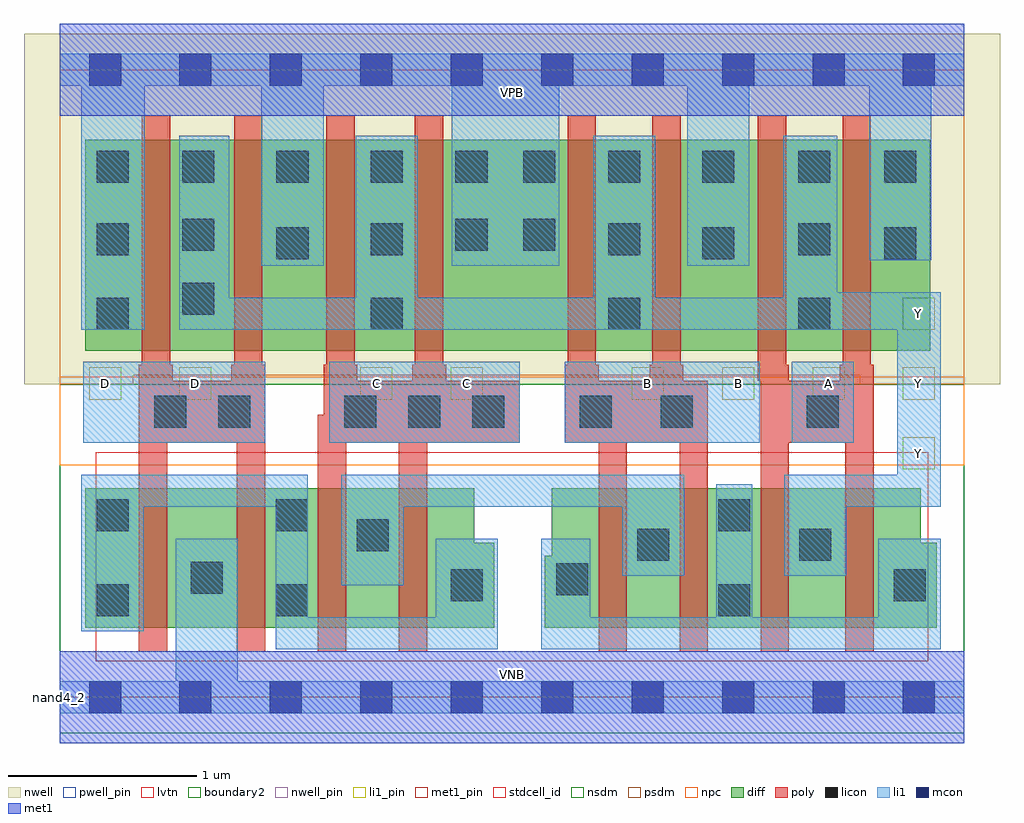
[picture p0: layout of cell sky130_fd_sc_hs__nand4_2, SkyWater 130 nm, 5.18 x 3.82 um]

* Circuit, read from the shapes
.subckt sky130_fd_sc_hs__nand4_2 A B C D VGND VNB VPB VPWR Y
XM1 VGND D n1 VNB sky130_fd_pr__nfet_01v8_lvt w=0.74 l=0.15 m=2
XM2 n2 C n1 VNB sky130_fd_pr__nfet_01v8_lvt w=0.74 l=0.15 m=2
XM3 n2 B n3 VNB sky130_fd_pr__nfet_01v8_lvt w=0.74 l=0.15 m=2
XM4 Y A n3 VNB sky130_fd_pr__nfet_01v8_lvt w=0.74 l=0.15 m=2
XM5 Y D VPWR VPB sky130_fd_pr__pfet_01v8 w=1.12 l=0.15 m=2
XM6 Y C VPWR VPB sky130_fd_pr__pfet_01v8 w=1.12 l=0.15 m=2
XM7 Y B VPWR VPB sky130_fd_pr__pfet_01v8 w=1.12 l=0.15 m=2
XM8 Y A VPWR VPB sky130_fd_pr__pfet_01v8 w=1.12 l=0.15 m=2
.ends

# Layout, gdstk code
import gdstk
lib = gdstk.Library(unit=1e-6, precision=1e-09)
def R(c, l, rs):  # rectangles x0, y0, x1, y1
    for r in rs: c.add(gdstk.rectangle(r[:2], r[2:], *l))
def A(c, l, x, y, w, h, nx, ny, dx, dy):  # array of equal rectangles
    R(c, l, [(x+i*dx, y+j*dy, x+i*dx+w, y+j*dy+h) for i in range(nx) for j in range(ny)])
def P(c, l, *ps):  # polygons
    for p in ps: c.add(gdstk.Polygon(p, *l))
nwell_pin = (64, 16)
nwell = (64, 20)
diff = (65, 20)
poly = (66, 20)
licon = (66, 44)
li1_pin = (67, 16)
li1 = (67, 20)
mcon = (67, 44)
met1_pin = (68, 16)
met1 = (68, 20)
stdcell_id = (81, 4)
nsdm = (93, 44)
psdm = (94, 20)
npc = (95, 20)
pwell_pin = (122, 16)
lvtn = (125, 44)
boundary2 = (236, 0)

sky130_fd_sc_hs__nand4_2 = lib.new_cell('sky130_fd_sc_hs__nand4_2')
R(sky130_fd_sc_hs__nand4_2, nwell_pin, [(0,3.085,4.8,3.33)])
R(sky130_fd_sc_hs__nand4_2, nwell, [(-0.19,1.66,4.99,3.52)])
R(sky130_fd_sc_hs__nand4_2, diff, [(0.135,1.84,4.62,2.96)])
P(sky130_fd_sc_hs__nand4_2, diff, [(2.305,0.82),(2.2,0.82),(2.2,1.11),(0.135,1.11),(0.135,0.37),(2.305,0.37)],
  [(4.655,0.82),(4.57,0.82),(4.57,1.11),(2.61,1.11),(2.61,0.75),(2.575,0.75),(2.575,0.37),(4.655,0.37)])
P(sky130_fd_sc_hs__nand4_2, poly, [(4.32,1.765),(4.305,1.765),(4.305,3.09),(4.155,3.09),(4.155,1.765),(4.14,1.765),(4.14,1.68),(3.87,1.68),(3.87,1.765),(3.855,1.765),(3.855,3.09),(3.705,3.09),(3.705,1.68),(3.72,1.68),(3.72,0.24),(3.87,0.24),(3.87,1.35),(4.17,1.35),(4.17,0.24),(4.32,0.24)],
  [(3.44,1.68),(3.31,1.68),(3.31,1.765),(3.295,1.765),(3.295,3.09),(3.145,3.09),(3.145,1.765),(3.13,1.765),(3.13,1.68),(2.86,1.68),(2.86,1.765),(2.845,1.765),(2.845,3.09),(2.695,3.09),(2.695,1.765),(2.68,1.765),(2.68,1.35),(2.86,1.35),(2.86,0.24),(3.01,0.24),(3.01,1.35),(3.29,1.35),(3.29,0.24),(3.44,0.24)],
  [(2.44,1.68),(2.05,1.68),(2.05,1.765),(2.035,1.765),(2.035,3.09),(1.885,3.09),(1.885,1.765),(1.87,1.765),(1.87,1.68),(1.58,1.68),(1.58,1.765),(1.565,1.765),(1.565,3.09),(1.415,3.09),(1.415,1.765),(1.4,1.765),(1.4,1.5),(1.37,1.5),(1.37,0.24),(1.52,0.24),(1.52,1.35),(1.8,1.35),(1.8,0.24),(1.95,0.24),(1.95,1.35),(2.44,1.35)],
  [(1.09,1.765),(1.075,1.765),(1.075,3.09),(0.925,3.09),(0.925,1.765),(0.91,1.765),(0.91,1.68),(0.6,1.68),(0.6,1.765),(0.585,1.765),(0.585,3.09),(0.435,3.09),(0.435,1.765),(0.42,1.765),(0.42,0.24),(0.57,0.24),(0.57,1.35),(0.94,1.35),(0.94,0.24),(1.09,0.24)])
A(sky130_fd_sc_hs__nand4_2, licon, 1.51, 1.43, 0.17, 0.17, 3, 1, 0.34, 0)
A(sky130_fd_sc_hs__nand4_2, licon, 0.65, 2.73, 0.17, 0.17, 3, 1, 0.5, 0)
R(sky130_fd_sc_hs__nand4_2, licon, [(0.195,0.43,0.365,0.6), (1.145,0.43,1.315,0.6), (3.495,0.43,3.665,0.6), (2.075,0.51,2.245,0.68), (4.425,0.51,4.595,0.68), (2.635,0.54,2.805,0.71), (0.695,0.55,0.865,0.72), (3.065,0.725,3.235,0.895), (3.925,0.725,4.095,0.895), (1.575,0.775,1.745,0.945), (0.195,0.88,0.365,1.05), (1.145,0.88,1.315,1.05), (3.495,0.88,3.665,1.05), (0.5,1.43,0.67,1.6), (0.84,1.43,1.01,1.6), (2.76,1.43,2.93,1.6), (3.19,1.43,3.36,1.6), (3.965,1.43,4.135,1.6), (0.195,1.95,0.365,2.12), (1.65,1.95,1.82,2.12), (2.91,1.95,3.08,2.12), (3.92,1.95,4.09,2.12), (0.65,2.03,0.82,2.2), (1.15,2.325,1.32,2.495), (3.41,2.325,3.58,2.495), (4.375,2.325,4.545,2.495), (0.195,2.345,0.365,2.515), (1.65,2.345,1.82,2.515), (2.91,2.345,3.08,2.515), (3.92,2.345,4.09,2.515), (0.65,2.37,0.82,2.54), (2.1,2.37,2.27,2.54), (2.46,2.37,2.63,2.54), (0.195,2.73,0.365,2.9), (2.1,2.73,2.27,2.9), (2.46,2.73,2.63,2.9), (2.91,2.73,3.08,2.9), (3.41,2.73,3.58,2.9), (3.92,2.73,4.09,2.9), (4.375,2.73,4.545,2.9)])
A(sky130_fd_sc_hs__nand4_2, li1_pin, 3.035, 1.58, 0.17, 0.17, 4, 1, 0.48, 0)
R(sky130_fd_sc_hs__nand4_2, li1_pin, [(4.475,1.21,4.645,1.38), (0.155,1.58,0.325,1.75), (0.635,1.58,0.805,1.75), (1.595,1.58,1.765,1.75), (2.075,1.58,2.245,1.75), (4.475,1.95,4.645,2.12)])
R(sky130_fd_sc_hs__nand4_2, li1, [(0.125,1.35,1.09,1.78), (1.43,1.35,2.44,1.78), (2.68,1.35,3.715,1.78), (3.885,1.35,4.215,1.78)])
P(sky130_fd_sc_hs__nand4_2, li1, [(4.295,2.32),(4.295,3.245),(3.66,3.245),(3.66,2.29),(3.33,2.29),(3.33,3.245),(2.65,3.245),(2.65,2.29),(2.08,2.29),(2.08,3.245),(1.4,3.245),(1.4,2.29),(1.07,2.29),(1.07,3.245),(0.45,3.245),(0.45,1.95),(0.115,1.95),(0.115,3.245),(0,3.245),(0,3.415),(4.8,3.415),(4.8,3.245),(4.625,3.245),(4.625,2.32)],
  [(0.615,0.085),(0.615,0.84),(0.945,0.84),(0.945,0.085),(4.8,0.085),(4.8,-0.085),(0,-0.085),(0,0.085)],
  [(4.175,1.01),(4.175,0.645),(3.845,0.645),(3.845,1.18),(4.445,1.18),(4.445,1.95),(0.635,1.95),(0.635,2.98),(0.9,2.98),(0.9,2.12),(1.57,2.12),(1.57,2.98),(1.9,2.98),(1.9,2.12),(2.83,2.12),(2.83,2.98),(3.16,2.98),(3.16,2.12),(3.84,2.12),(3.84,2.98),(4.125,2.98),(4.125,2.15),(4.675,2.15),(4.675,1.01)],
  [(1.145,0.255),(1.145,1.01),(0.445,1.01),(0.445,0.35),(0.115,0.35),(0.115,1.18),(1.315,1.18),(1.315,0.425),(1.995,0.425),(1.995,0.84),(2.325,0.84),(2.325,0.255)],
  [(1.495,0.595),(1.495,1.18),(3.315,1.18),(3.315,0.645),(2.985,0.645),(2.985,1.01),(1.825,1.01),(1.825,0.595)],
  [(4.675,0.84),(4.345,0.84),(4.345,0.425),(3.675,0.425),(3.675,1.13),(3.485,1.13),(3.485,0.425),(2.815,0.425),(2.815,0.84),(2.555,0.84),(2.555,0.255),(4.675,0.255)])
A(sky130_fd_sc_hs__nand4_2, mcon, 0.155, -0.085, 0.17, 0.17, 10, 2, 0.48, 3.33)
R(sky130_fd_sc_hs__nand4_2, met1_pin, [(0,0,4.8,0.245), (0,3.085,4.8,3.33)])
R(sky130_fd_sc_hs__nand4_2, met1, [(0,-0.245,4.8,0.245), (0,3.085,4.8,3.575)])
R(sky130_fd_sc_hs__nand4_2, stdcell_id, [(0,0,4.8,3.33)])
R(sky130_fd_sc_hs__nand4_2, nsdm, [(0,-0.19,4.8,1.66)])
P(sky130_fd_sc_hs__nand4_2, psdm, [(4.8,3.52),(0,3.52),(0,1.66),(0.39,1.66),(0.39,1.71),(4.245,1.71),(4.245,1.66),(4.8,1.66)])
R(sky130_fd_sc_hs__nand4_2, npc, [(0,1.23,4.8,1.7)])
R(sky130_fd_sc_hs__nand4_2, pwell_pin, [(0,0,4.8,0.245)])
R(sky130_fd_sc_hs__nand4_2, lvtn, [(0.19,0.19,4.61,1.3)])
R(sky130_fd_sc_hs__nand4_2, boundary2, [(0,0,4.8,3.33)])
sky130_fd_sc_hs__nand4_2.add(gdstk.Label('nand4_2', (0,0), layer=83, texttype=44))
sky130_fd_sc_hs__nand4_2.add(gdstk.Label('VNB', (2.4,0.123), layer=64, texttype=59))
sky130_fd_sc_hs__nand4_2.add(gdstk.Label('VPB', (2.4,3.208), layer=64, texttype=5))
sky130_fd_sc_hs__nand4_2.add(gdstk.Label('VPWR', (2.4,3.208), layer=68, texttype=5))
sky130_fd_sc_hs__nand4_2.add(gdstk.Label('VGND', (2.4,0.123), layer=68, texttype=5))
sky130_fd_sc_hs__nand4_2.add(gdstk.Label('Y', (4.56,1.295), layer=67, texttype=5))
sky130_fd_sc_hs__nand4_2.add(gdstk.Label('Y', (4.56,1.665), layer=67, texttype=5))
sky130_fd_sc_hs__nand4_2.add(gdstk.Label('Y', (4.56,2.035), layer=67, texttype=5))
sky130_fd_sc_hs__nand4_2.add(gdstk.Label('C', (1.68,1.665), layer=67, texttype=5))
sky130_fd_sc_hs__nand4_2.add(gdstk.Label('C', (2.16,1.665), layer=67, texttype=5))
sky130_fd_sc_hs__nand4_2.add(gdstk.Label('D', (0.24,1.665), layer=67, texttype=5))
sky130_fd_sc_hs__nand4_2.add(gdstk.Label('D', (0.72,1.665), layer=67, texttype=5))
sky130_fd_sc_hs__nand4_2.add(gdstk.Label('B', (3.12,1.665), layer=67, texttype=5))
sky130_fd_sc_hs__nand4_2.add(gdstk.Label('B', (3.6,1.665), layer=67, texttype=5))
sky130_fd_sc_hs__nand4_2.add(gdstk.Label('A', (4.08,1.665), layer=67, texttype=5))

lib.write_gds('sky130_fd_sc_hs__nand4_2.gds')
